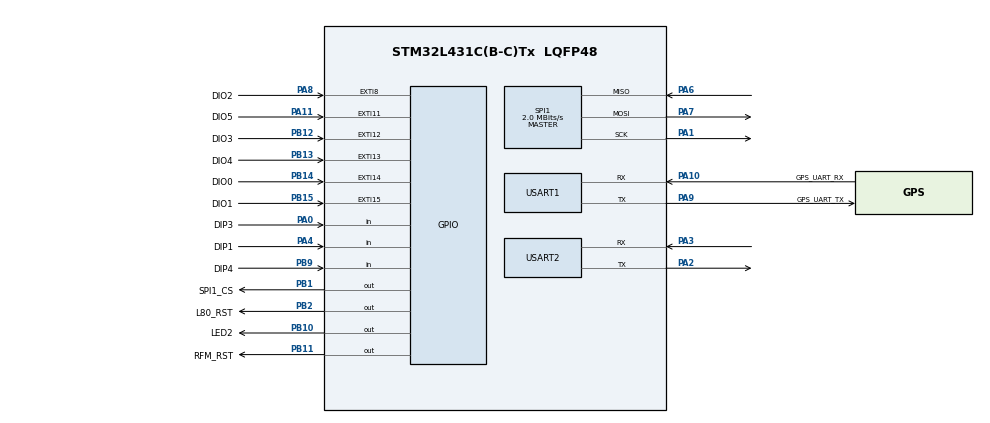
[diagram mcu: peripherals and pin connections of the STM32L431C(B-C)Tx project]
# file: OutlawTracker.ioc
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FREERTOS.Tasks01=defaultTask,24,128,StartDefaultTask,Default,NULL,Dynamic,NULL,NULL;loraTx,8,512,loraTxTask,Default,NULL,Dynamic,NULL,NULL;gpsRead,8,512,gpsReadTask,Default,NULL,Dynamic,NULL,NULL
FREERTOS.configTOTAL_HEAP_SIZE=6000
Mcu.Family=STM32L4
Mcu.Name=STM32L431C(B-C)Tx
Mcu.Package=LQFP48
NVIC.PriorityGroup=NVIC_PRIORITYGROUP_4
NVIC.TIM6_DAC_IRQn=true\:15\:0\:false\:false\:true\:false\:false\:true\:true
NVIC.TimeBase=TIM6_DAC_IRQn
NVIC.TimeBaseIP=TIM6
PA0.GPIO_Label=DIP3
PA0.Signal=GPIO_Input
PA1.Mode=Full_Duplex_Master
PA1.Signal=SPI1_SCK
PA10.GPIO_Label=GPS_UART_RX
PA10.Mode=Asynchronous
PA10.Signal=USART1_RX
PA11.GPIO_Label=DIO5
PA11.Signal=GPXTI11
PA13\ (JTMS-SWDIO).Mode=Serial_Wire
PA13\ (JTMS-SWDIO).Signal=SYS_JTMS-SWDIO
PA14\ (JTCK-SWCLK).Mode=Serial_Wire
PA14\ (JTCK-SWCLK).Signal=SYS_JTCK-SWCLK
PA2.Mode=Asynchronous
PA2.Signal=USART2_TX
PA3.Mode=Asynchronous
PA3.Signal=USART2_RX
PA4.GPIO_Label=DIP1
PA4.Signal=GPIO_Input
PA6.Mode=Full_Duplex_Master
PA6.Signal=SPI1_MISO
PA7.Mode=Full_Duplex_Master
PA7.Signal=SPI1_MOSI
PA8.GPIO_Label=DIO2
PA8.Signal=GPXTI8
PA9.GPIO_Label=GPS_UART_TX
PA9.Mode=Asynchronous
PA9.Signal=USART1_TX
PB1.GPIO_Label=SPI1_CS
PB1.Signal=GPIO_Output
PB10.GPIO_Label=LED2
PB10.Signal=GPIO_Output
PB11.GPIO_Label=RFM_RST
PB11.PinState=GPIO_PIN_SET
PB11.Signal=GPIO_Output
PB12.GPIO_Label=DIO3
PB12.Signal=GPXTI12
PB13.GPIO_Label=DIO4
PB13.Signal=GPXTI13
PB14.GPIO_Label=DIO0
PB14.Signal=GPXTI14
PB15.GPIO_Label=DIO1
PB15.Signal=GPXTI15
PB2.GPIO_Label=L80_RST
PB2.PinState=GPIO_PIN_SET
PB2.Signal=GPIO_Output
PB9.GPIO_Label=DIP4
PB9.Signal=GPIO_Input
ProjectManager.HeapSize=0x200
ProjectManager.StackSize=0x400
ProjectManager.TargetToolchain=CMake
RCC.HSE_VALUE=8000000
RCC.HSI48_VALUE=48000000
RCC.HSI_VALUE=16000000
RCC.LSE_VALUE=32768
RCC.MSI_VALUE=4000000
RCC.VCOOutputFreq_Value=32000000
SPI1.CalculateBaudRate=2.0 MBits/s
SPI1.Direction=SPI_DIRECTION_2LINES
SPI1.Mode=SPI_MODE_MASTER
SPI1.VirtualType=VM_MASTER
USART1.VirtualMode-Asynchronous=VM_ASYNC
USART2.VirtualMode-Asynchronous=VM_ASYNC
VP_FREERTOS_VS_CMSIS_V2.Mode=CMSIS_V2
VP_LPTIM1_VS_LPTIM_counterModeInternalClock.Mode=Counts__internal_clock_event_00
VP_SYS_VS_tim6.Mode=TIM6
board=custom

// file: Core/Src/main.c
/* USER CODE BEGIN Header */
/**
  ******************************************************************************
  * @file           : main.c
  * @brief          : Main program body
  ******************************************************************************
  * @attention
  *
  * Copyright (c) 2024 STMicroelectronics.
  * All rights reserved.
  *
  * This software is licensed under terms that can be found in the LICENSE file
  * in the root directory of this software component.
  * If no LICENSE file comes with this software, it is provided AS-IS.
  *
  ******************************************************************************
  */
/* USER CODE END Header */
#include "main.h"
#include "cmsis_os.h"

/* USER CODE BEGIN Includes */
#include "rfm95.h"
/* USER CODE END Includes */

LPTIM_HandleTypeDef hlptim1;

SPI_HandleTypeDef hspi1;

UART_HandleTypeDef huart1;
UART_HandleTypeDef huart2;

/* Definitions for defaultTask */
osThreadId_t defaultTaskHandle;
const osThreadAttr_t defaultTask_attributes = {
  .name = "defaultTask",
  .stack_size = 128 * 4,
  .priority = (osPriority_t)osPriorityNormal,
};
/* Definitions for loraTx */
osThreadId_t loraTxHandle;
const osThreadAttr_t loraTx_attributes = {
  .name = "loraTx",
  .stack_size = 512 * 4,
  .priority = (osPriority_t)osPriorityLow,
};
/* Definitions for gpsRead */
osThreadId_t gpsReadHandle;
const osThreadAttr_t gpsRead_attributes = {
  .name = "gpsRead",
  .stack_size = 512 * 4,
  .priority = (osPriority_t)osPriorityLow,
};
/* USER CODE BEGIN PV */
static uint32_t get_precision_tick();
static void precision_sleep_until(uint32_t target_ticks);
static uint8_t random_int(uint8_t max);
static uint8_t get_battery_level();

rfm95_handle_t rfm95_handle = {
  // ... see example above
  .precision_tick_frequency = 32768,
  .precision_tick_drift_ns_per_s = 5000,
  .receive_mode = RFM95_RECEIVE_MODE_RX12,
  .get_precision_tick = get_precision_tick,
  .precision_sleep_until = precision_sleep_until,
  .random_int = random_int,
  .get_battery_level = get_battery_level
};

volatile uint32_t lptim_tick_msb = 0;
/* USER CODE END PV */

void SystemClock_Config(void);
static void MX_GPIO_Init(void);
static void MX_SPI1_Init(void);
static void MX_USART2_UART_Init(void);
static void MX_USART1_UART_Init(void);
static void MX_LPTIM1_Init(void);
void StartDefaultTask(void* argument);
void loraTxTask(void* argument);
void gpsReadTask(void* argument);

int main(void) {

  /* MCU Configuration--------------------------------------------------------*/

  /* Reset of all peripherals, Initializes the Flash interface and the Systick. */
  HAL_Init();

  /* Configure the system clock */
  SystemClock_Config();

  /* Initialize all configured peripherals */
  MX_GPIO_Init();
  MX_SPI1_Init();
  MX_USART2_UART_Init();
  MX_USART1_UART_Init();
  MX_LPTIM1_Init();

  /* Init scheduler */
  osKernelInitialize();

  /* Create the thread(s) */
  /* creation of defaultTask */
  defaultTaskHandle = osThreadNew(StartDefaultTask, NULL, &defaultTask_attributes);

  /* creation of loraTx */
  loraTxHandle = osThreadNew(loraTxTask, NULL, &loraTx_attributes);

  /* creation of gpsRead */
  gpsReadHandle = osThreadNew(gpsReadTask, NULL, &gpsRead_attributes);

  /* Start scheduler */
  osKernelStart();

  /* We should never get here as control is now taken by the scheduler */

  /* Infinite loop */
  while (1) {

  }
}

void SystemClock_Config(void) {
  RCC_OscInitTypeDef RCC_OscInitStruct = {0};
  RCC_ClkInitTypeDef RCC_ClkInitStruct = {0};

  /** Configure the main internal regulator output voltage
  */
  if (HAL_PWREx_ControlVoltageScaling(PWR_REGULATOR_VOLTAGE_SCALE1) != HAL_OK) {
    Error_Handler();
  }

  /** Initializes the RCC Oscillators according to the specified parameters
  * in the RCC_OscInitTypeDef structure.
  */
  RCC_OscInitStruct.OscillatorType = RCC_OSCILLATORTYPE_MSI;
  RCC_OscInitStruct.MSIState = RCC_MSI_ON;
  RCC_OscInitStruct.MSICalibrationValue = 0;
  RCC_OscInitStruct.MSIClockRange = RCC_MSIRANGE_6;
  RCC_OscInitStruct.PLL.PLLState = RCC_PLL_NONE;
  if (HAL_RCC_OscConfig(&RCC_OscInitStruct) != HAL_OK) {
    Error_Handler();
  }

  /** Initializes the CPU, AHB and APB buses clocks
  */
  RCC_ClkInitStruct.ClockType = RCC_CLOCKTYPE_HCLK | RCC_CLOCKTYPE_SYSCLK
    | RCC_CLOCKTYPE_PCLK1 | RCC_CLOCKTYPE_PCLK2;
  RCC_ClkInitStruct.SYSCLKSource = RCC_SYSCLKSOURCE_MSI;
  RCC_ClkInitStruct.AHBCLKDivider = RCC_SYSCLK_DIV1;
  RCC_ClkInitStruct.APB1CLKDivider = RCC_HCLK_DIV1;
  RCC_ClkInitStruct.APB2CLKDivider = RCC_HCLK_DIV1;

  if (HAL_RCC_ClockConfig(&RCC_ClkInitStruct, FLASH_LATENCY_0) != HAL_OK) {
    Error_Handler();
  }
}

static void MX_LPTIM1_Init(void) {

  hlptim1.Instance = LPTIM1;
  hlptim1.Init.Clock.Source = LPTIM_CLOCKSOURCE_APBCLOCK_LPOSC;
  hlptim1.Init.Clock.Prescaler = LPTIM_PRESCALER_DIV1;
  hlptim1.Init.Trigger.Source = LPTIM_TRIGSOURCE_SOFTWARE;
  hlptim1.Init.OutputPolarity = LPTIM_OUTPUTPOLARITY_HIGH;
  hlptim1.Init.UpdateMode = LPTIM_UPDATE_IMMEDIATE;
  hlptim1.Init.CounterSource = LPTIM_COUNTERSOURCE_INTERNAL;
  hlptim1.Init.Input1Source = LPTIM_INPUT1SOURCE_GPIO;
  hlptim1.Init.Input2Source = LPTIM_INPUT2SOURCE_GPIO;
  if (HAL_LPTIM_Init(&hlptim1) != HAL_OK) {
    Error_Handler();
  }
}

static void MX_SPI1_Init(void) {

  /* SPI1 parameter configuration*/
  hspi1.Instance = SPI1;
  hspi1.Init.Mode = SPI_MODE_MASTER;
  hspi1.Init.Direction = SPI_DIRECTION_2LINES;
  hspi1.Init.DataSize = SPI_DATASIZE_4BIT;
  hspi1.Init.CLKPolarity = SPI_POLARITY_LOW;
  hspi1.Init.CLKPhase = SPI_PHASE_1EDGE;
  hspi1.Init.NSS = SPI_NSS_SOFT;
  hspi1.Init.BaudRatePrescaler = SPI_BAUDRATEPRESCALER_2;
  hspi1.Init.FirstBit = SPI_FIRSTBIT_MSB;
  hspi1.Init.TIMode = SPI_TIMODE_DISABLE;
  hspi1.Init.CRCCalculation = SPI_CRCCALCULATION_DISABLE;
  hspi1.Init.CRCPolynomial = 7;
  hspi1.Init.CRCLength = SPI_CRC_LENGTH_DATASIZE;
  hspi1.Init.NSSPMode = SPI_NSS_PULSE_ENABLE;
  if (HAL_SPI_Init(&hspi1) != HAL_OK) {
    Error_Handler();
  }
}

static void MX_USART1_UART_Init(void) {

  huart1.Instance = USART1;
  huart1.Init.BaudRate = 115200;
  huart1.Init.WordLength = UART_WORDLENGTH_8B;
  huart1.Init.StopBits = UART_STOPBITS_1;
  huart1.Init.Parity = UART_PARITY_NONE;
  huart1.Init.Mode = UART_MODE_TX_RX;
  huart1.Init.HwFlowCtl = UART_HWCONTROL_NONE;
  huart1.Init.OverSampling = UART_OVERSAMPLING_16;
  huart1.Init.OneBitSampling = UART_ONE_BIT_SAMPLE_DISABLE;
  huart1.AdvancedInit.AdvFeatureInit = UART_ADVFEATURE_NO_INIT;
  if (HAL_UART_Init(&huart1) != HAL_OK) {
    Error_Handler();
  }
}

static void MX_USART2_UART_Init(void) {

  huart2.Instance = USART2;
  huart2.Init.BaudRate = 115200;
  huart2.Init.WordLength = UART_WORDLENGTH_8B;
  huart2.Init.StopBits = UART_STOPBITS_1;
  huart2.Init.Parity = UART_PARITY_NONE;
  huart2.Init.Mode = UART_MODE_TX_RX;
  huart2.Init.HwFlowCtl = UART_HWCONTROL_NONE;
  huart2.Init.OverSampling = UART_OVERSAMPLING_16;
  huart2.Init.OneBitSampling = UART_ONE_BIT_SAMPLE_DISABLE;
  huart2.AdvancedInit.AdvFeatureInit = UART_ADVFEATURE_NO_INIT;
  if (HAL_UART_Init(&huart2) != HAL_OK) {
    Error_Handler();
  }
}

static void MX_GPIO_Init(void) {
  GPIO_InitTypeDef GPIO_InitStruct = {0};

  /* GPIO Ports Clock Enable */
  __HAL_RCC_GPIOA_CLK_ENABLE();
  __HAL_RCC_GPIOB_CLK_ENABLE();

  /*Configure GPIO pin Output Level */
  HAL_GPIO_WritePin(GPIOB, SPI1_CS_Pin | LED2_Pin, GPIO_PIN_RESET);

  /*Configure GPIO pin Output Level */
  HAL_GPIO_WritePin(GPIOB, L80_RST_Pin | RFM_RST_Pin, GPIO_PIN_SET);

  /*Configure GPIO pins : DIP3_Pin DIP1_Pin */
  GPIO_InitStruct.Pin = DIP3_Pin | DIP1_Pin;
  GPIO_InitStruct.Mode = GPIO_MODE_INPUT;
  GPIO_InitStruct.Pull = GPIO_NOPULL;
  HAL_GPIO_Init(GPIOA, &GPIO_InitStruct);

  /*Configure GPIO pins : SPI1_CS_Pin L80_RST_Pin LED2_Pin RFM_RST_Pin */
  GPIO_InitStruct.Pin = SPI1_CS_Pin | L80_RST_Pin | LED2_Pin | RFM_RST_Pin;
  GPIO_InitStruct.Mode = GPIO_MODE_OUTPUT_PP;
  GPIO_InitStruct.Pull = GPIO_NOPULL;
  GPIO_InitStruct.Speed = GPIO_SPEED_FREQ_LOW;
  HAL_GPIO_Init(GPIOB, &GPIO_InitStruct);

  /*Configure GPIO pins : DIO3_Pin DIO4_Pin DIO0_Pin DIO1_Pin */
  GPIO_InitStruct.Pin = DIO3_Pin | DIO4_Pin | DIO0_Pin | DIO1_Pin;
  GPIO_InitStruct.Mode = GPIO_MODE_IT_RISING;
  GPIO_InitStruct.Pull = GPIO_NOPULL;
  HAL_GPIO_Init(GPIOB, &GPIO_InitStruct);

  /*Configure GPIO pins : DIO2_Pin DIO5_Pin */
  GPIO_InitStruct.Pin = DIO2_Pin | DIO5_Pin;
  GPIO_InitStruct.Mode = GPIO_MODE_IT_RISING;
  GPIO_InitStruct.Pull = GPIO_NOPULL;
  HAL_GPIO_Init(GPIOA, &GPIO_InitStruct);

  /*Configure GPIO pin : DIP4_Pin */
  GPIO_InitStruct.Pin = DIP4_Pin;
  GPIO_InitStruct.Mode = GPIO_MODE_INPUT;
  GPIO_InitStruct.Pull = GPIO_NOPULL;
  HAL_GPIO_Init(DIP4_GPIO_Port, &GPIO_InitStruct);

}

/* USER CODE BEGIN 4 */
void HAL_GPIO_EXTI_Callback(uint16_t GPIO_Pin) {
  if (GPIO_Pin == DIO0_Pin) {
    rfm95_on_interrupt(&rfm95_handle, RFM95_INTERRUPT_DIO0);
  }
  else if (GPIO_Pin == DIO1_Pin) {
    rfm95_on_interrupt(&rfm95_handle, RFM95_INTERRUPT_DIO1);
  }
  else if (GPIO_Pin == DIO5_Pin) {
    rfm95_on_interrupt(&rfm95_handle, RFM95_INTERRUPT_DIO5);
  }
}

static uint32_t get_precision_tick() {
  __disable_irq();
  uint32_t precision_tick = lptim_tick_msb | HAL_LPTIM_ReadCounter(&hlptim1);
  __enable_irq();
  return precision_tick;
}

void HAL_LPTIM_AutoReloadMatchCallback(LPTIM_HandleTypeDef* hlptim) {
  if (hlptim->Instance == LPTIM1) {
    lptim_tick_msb += 0x10000;
  }
}

static void precision_sleep_until(uint32_t target_ticks) {
  while (true) {
    uint32_t start_ticks = get_precision_tick();
    if (start_ticks > target_ticks) {
      break;
    }

    uint32_t ticks_to_sleep = target_ticks - start_ticks;

    // Only use sleep for at least 10 ticks.
    if (ticks_to_sleep >= 10) {
      // Calculate required value of compare register for the sleep minus a small buffer time to compensate
      // for any ticks that occur while we perform this calculation.
      uint32_t compare = (start_ticks & 0xffff) + ticks_to_sleep - 2;

      // If the counter auto-reloads we will be woken up anyway.
      if (compare > 0xffff) {
        HAL_SuspendTick();
        HAL_PWREx_EnterSTOP2Mode(PWR_STOPENTRY_WFI);
        HAL_ResumeTick();

        // Otherwise, set compare register and use the compare match interrupt to wake up in time.
      }
      else {
        __HAL_LPTIM_COMPARE_SET(&hlptim1, compare);
        while (!__HAL_LPTIM_GET_FLAG(&hlptim1, LPTIM_FLAG_CMPOK));
        __HAL_LPTIM_CLEAR_FLAG(&hlptim1, LPTIM_FLAG_CMPM);
        __HAL_LPTIM_ENABLE_IT(&hlptim1, LPTIM_IT_CMPM);
        HAL_SuspendTick();
        HAL_PWREx_EnterSTOP2Mode(PWR_STOPENTRY_WFI);
        HAL_ResumeTick();
        __HAL_LPTIM_DISABLE_IT(&hlptim1, LPTIM_IT_CMPM);
      }
    }
    else {
      break;
    }

    // Busy wait until we have reached the target.
    while (get_precision_tick() < target_ticks);
  }
}

static uint8_t random_int(uint8_t max) {
  return 0; // Use ADC other means of obtaining a random number.
}

static uint8_t get_battery_level() {
  return 0xff; // 0xff = Unknown battery level.
}

/* USER CODE END 4 */

void StartDefaultTask(void* argument) {
  for (;;) {
    osDelay(1);
  }
}

void loraTxTask(void* argument) {
  for (;;) {
    osDelay(1);
  }
}

void gpsReadTask(void* argument) {
  for (;;) {
    osDelay(1);
  }
}

void HAL_TIM_PeriodElapsedCallback(TIM_HandleTypeDef* htim) {
  if (htim->Instance == TIM6) {
    HAL_IncTick();
  }
}

void Error_Handler(void) {
  __disable_irq();
  while (1) {}
}
